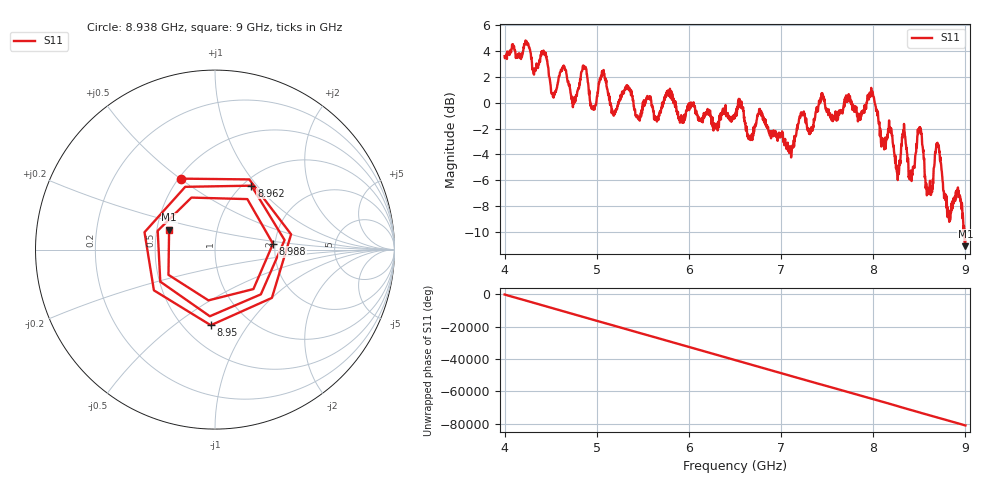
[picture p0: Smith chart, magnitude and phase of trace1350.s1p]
! Created with skrf 1.8.0 (http://scikit-rf.org).
# Hz S RI R 50.0
!freq ReS11 ImS11
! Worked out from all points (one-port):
!   1601 points, 4 GHz to 9 GHz, reference 50 ohm
!   lowest |S11| = -11.1 dB at 9 GHz (marker M1), VSWR 1.77, Z = 29 + j6.95 ohm
!   |S11| at or under -10 dB: 8.989396 GHz to end of sweep
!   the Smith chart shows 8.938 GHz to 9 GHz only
!   S11 on the Smith chart (normalised r, x): 8.938 GHz: 0.51, +0.50; 8.95 GHz: 0.67, -0.69; 8.962 GHz: 1.09, +0.93; 8.988 GHz: 1.95, +0.14; 9 GHz: 0.58, +0.14
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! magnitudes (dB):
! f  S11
! 4 GHz  3.6
! 4.425 GHz  3.8
! 4.531 GHz  0.4
! 4.625 GHz  2.6
! 4.747 GHz  -0.1
! 4.862 GHz  2.8
! 4.956 GHz  -0.4
! 5.059 GHz  2.4
! 5.25 GHz  0.3
! 5.875 GHz  -0.7
! 6.5 GHz  -0.9
! 7.125 GHz  -3.3
! 7.438 GHz  0.6
! 7.75 GHz  0.3
! 7.988 GHz  0.9
! 8.097 GHz  -2.7
! 8.338 GHz  -2.2
! 8.375 GHz  -4.5
! 8.422 GHz  -5.5
! 8.503 GHz  -1.9
! 8.594 GHz  -6.6
! 8.697 GHz  -3.1
! 8.812 GHz  -8.7
! 8.938 GHz  -7.1
! 8.95 GHz  -7.5
! 8.962 GHz  -7.7
! 8.988 GHz  -9.8
! 9 GHz  -11.1
